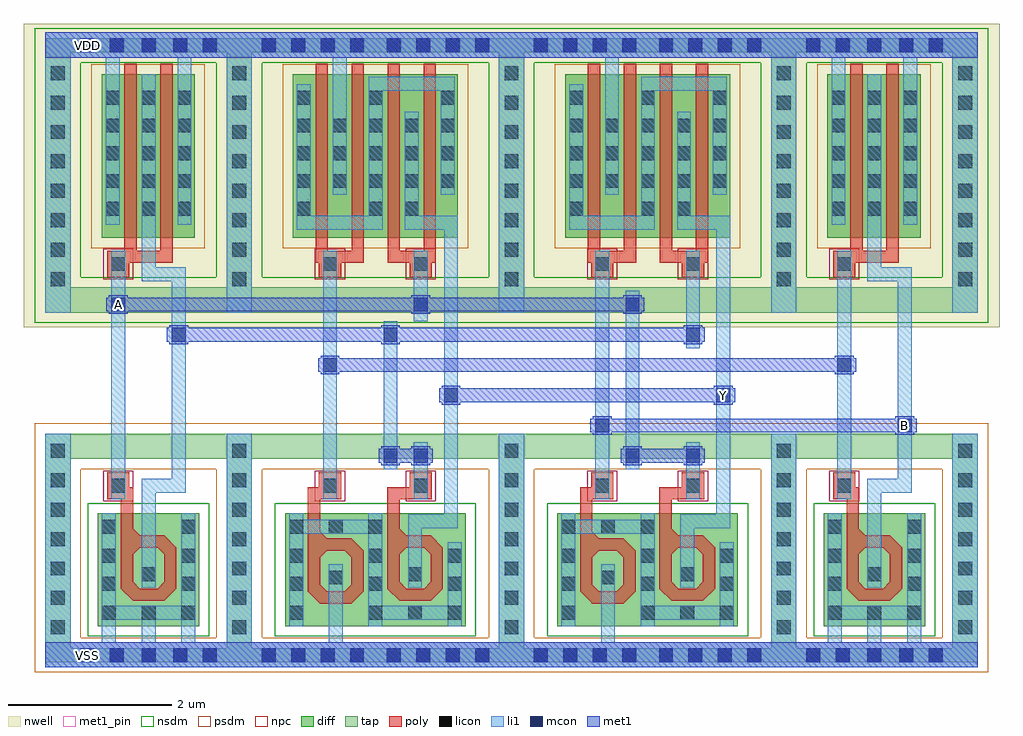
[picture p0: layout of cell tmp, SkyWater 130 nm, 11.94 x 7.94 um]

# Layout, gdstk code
import gdstk
lib = gdstk.Library(unit=1e-6, precision=1e-09)
def R(c, l, rs):  # rectangles x0, y0, x1, y1
    for r in rs: c.add(gdstk.rectangle(r[:2], r[2:], *l))
def A(c, l, x, y, w, h, nx, ny, dx, dy):  # array of equal rectangles
    R(c, l, [(x+i*dx, y+j*dy, x+i*dx+w, y+j*dy+h) for i in range(nx) for j in range(ny)])
def P(c, l, *ps):  # polygons
    for p in ps: c.add(gdstk.Polygon(p, *l))
nwell = (64, 20)
diff = (65, 20)
tap = (65, 44)
poly = (66, 20)
licon = (66, 44)
li1 = (67, 20)
mcon = (67, 44)
met1_pin = (68, 16)
met1 = (68, 20)
nsdm = (93, 44)
psdm = (94, 20)
npc = (95, 20)

tmp = lib.new_cell('tmp')
R(tmp, nwell, [(-0.42,4.16,11.52,7.875)])
R(tmp, diff, [(0.49,0.505,1.73,1.885), (2.78,0.505,4.99,1.885), (6.11,0.505,8.32,1.885), (9.37,0.505,10.61,1.885), (0.535,5.255,1.675,7.255), (2.875,5.255,4.895,7.255), (6.205,5.255,8.225,7.255), (9.415,5.255,10.555,7.255)])
A(tmp, tap, 2.065, 0.235, 0.31, 2.315, 3, 1, 3.33, 0)
A(tmp, tap, 2.065, 4.65, 0.31, 2.875, 3, 1, 3.33, 0)
R(tmp, tap, [(-0.155,0.065,11.255,0.235), (-0.155,0.235,0.155,2.55), (10.945,0.235,11.255,2.55), (-0.155,2.55,11.255,2.86), (-0.155,4.34,11.255,4.65), (-0.155,4.65,0.155,7.525), (10.945,4.65,11.255,7.525), (-0.155,7.525,11.255,7.695)])
A(tmp, poly, 3.155, 5.1, 0.15, 2.285, 4, 1, 0.44, 0)
A(tmp, poly, 6.485, 5.1, 0.15, 2.285, 4, 1, 0.44, 0)
R(tmp, poly, [(3.21,0.78,3.59,0.815), (6.54,0.78,6.92,0.815), (0.92,0.815,1.3,0.965), (3.175,0.815,3.59,0.93), (4.18,0.815,4.56,0.965), (6.505,0.815,6.92,0.93), (7.51,0.815,7.89,0.965), (9.8,0.815,10.18,0.965), (3.06,0.93,3.21,1.43), (3.59,0.93,3.74,1.43), (6.39,0.93,6.54,1.43), (6.92,0.93,7.07,1.43), (0.77,0.965,0.92,1.465), (1.3,0.965,1.45,1.465), (4.03,0.965,4.18,1.465), (4.56,0.965,4.71,1.465), (7.36,0.965,7.51,1.465), (7.89,0.965,8.04,1.465), (9.65,0.965,9.8,1.465), (10.18,0.965,10.33,1.465), (3.06,1.43,3.59,1.58), (6.39,1.43,6.92,1.58), (0.77,1.465,1.3,1.615), (4.03,1.465,4.56,1.615), (7.36,1.465,7.89,1.615), (9.65,1.465,10.18,1.615), (3.06,1.58,3.21,2.055), (6.39,1.58,6.54,2.055), (0.77,1.615,0.92,2.055), (4.03,1.615,4.18,2.055), (7.36,1.615,7.51,2.055), (9.65,1.615,9.8,2.055), (0.605,2.055,0.92,2.205), (3.06,2.055,3.465,2.205), (4.03,2.055,4.575,2.205), (6.39,2.055,6.795,2.205), (7.36,2.055,7.905,2.205), (9.485,2.055,9.8,2.205), (0.605,2.205,0.875,2.385), (3.195,2.205,3.465,2.385), (4.305,2.205,4.575,2.385), (6.525,2.205,6.795,2.385), (7.635,2.205,7.905,2.385), (9.485,2.205,9.755,2.385), (0.605,4.77,0.875,4.95), (3.195,4.77,3.465,4.95), (4.305,4.77,4.575,4.95), (6.525,4.77,6.795,4.95), (7.635,4.77,7.905,4.95), (9.485,4.77,9.755,4.95), (0.605,4.95,1.405,5.1), (3.155,4.95,3.745,5.1), (4.035,4.95,4.625,5.1), (6.485,4.95,7.075,5.1), (7.365,4.95,7.955,5.1), (9.485,4.95,10.285,5.1), (0.815,5.1,0.965,7.385), (1.255,5.1,1.405,7.385), (9.695,5.1,9.845,7.385), (10.135,5.1,10.285,7.385)])
P(tmp, poly, [(0.92,1.695),(0.92,1.615),(1,1.615)],
  [(1.3,1.615),(1.3,1.465),(1.45,1.465)],
  [(0.92,1.385),(0.92,1.465),(1,1.465)],
  [(1.22,1.465),(1.3,1.465),(1.3,1.385)],
  [(0.92,1.045),(0.92,0.965),(1,0.965)],
  [(1.22,0.965),(1.3,0.965),(1.3,1.045)],
  [(0.77,0.965),(0.92,0.965),(0.92,0.815)],
  [(1.3,0.815),(1.3,0.965),(1.45,0.965)],
  [(3.21,1.66),(3.21,1.58),(3.29,1.58)],
  [(4.18,1.695),(4.18,1.615),(4.26,1.615)],
  [(3.59,1.58),(3.59,1.43),(3.74,1.43)],
  [(3.21,1.35),(3.21,1.43),(3.29,1.43)],
  [(3.51,1.43),(3.59,1.43),(3.59,1.35)],
  [(3.21,1.01),(3.21,0.93),(3.29,0.93)],
  [(3.51,0.93),(3.59,0.93),(3.59,1.01)],
  [(3.06,0.93),(3.175,0.93),(3.175,0.815)],
  [(3.175,0.815),(3.21,0.815),(3.21,0.78)],
  [(3.59,0.78),(3.59,0.93),(3.74,0.93)],
  [(4.56,1.615),(4.56,1.465),(4.71,1.465)],
  [(4.18,1.385),(4.18,1.465),(4.26,1.465)],
  [(4.48,1.465),(4.56,1.465),(4.56,1.385)],
  [(4.18,1.045),(4.18,0.965),(4.26,0.965)],
  [(4.48,0.965),(4.56,0.965),(4.56,1.045)],
  [(4.03,0.965),(4.18,0.965),(4.18,0.815)],
  [(4.56,0.815),(4.56,0.965),(4.71,0.965)],
  [(6.54,1.66),(6.54,1.58),(6.62,1.58)],
  [(7.51,1.695),(7.51,1.615),(7.59,1.615)],
  [(9.8,1.695),(9.8,1.615),(9.88,1.615)],
  [(6.92,1.58),(6.92,1.43),(7.07,1.43)],
  [(6.54,1.35),(6.54,1.43),(6.62,1.43)],
  [(6.84,1.43),(6.92,1.43),(6.92,1.35)],
  [(6.54,1.01),(6.54,0.93),(6.62,0.93)],
  [(6.84,0.93),(6.92,0.93),(6.92,1.01)],
  [(6.39,0.93),(6.505,0.93),(6.505,0.815)],
  [(6.505,0.815),(6.54,0.815),(6.54,0.78)],
  [(6.92,0.78),(6.92,0.93),(7.07,0.93)],
  [(7.89,1.615),(7.89,1.465),(8.04,1.465)],
  [(7.51,1.385),(7.51,1.465),(7.59,1.465)],
  [(7.81,1.465),(7.89,1.465),(7.89,1.385)],
  [(7.51,1.045),(7.51,0.965),(7.59,0.965)],
  [(7.81,0.965),(7.89,0.965),(7.89,1.045)],
  [(7.36,0.965),(7.51,0.965),(7.51,0.815)],
  [(7.89,0.815),(7.89,0.965),(8.04,0.965)],
  [(10.18,1.615),(10.18,1.465),(10.33,1.465)],
  [(9.8,1.385),(9.8,1.465),(9.88,1.465)],
  [(10.1,1.465),(10.18,1.465),(10.18,1.385)],
  [(9.8,1.045),(9.8,0.965),(9.88,0.965)],
  [(10.1,0.965),(10.18,0.965),(10.18,1.045)],
  [(9.65,0.965),(9.8,0.965),(9.8,0.815)],
  [(10.18,0.815),(10.18,0.965),(10.33,0.965)])
A(tmp, licon, 0.635, 0.065, 0.17, 0.17, 3, 2, 0.39, 7.46)
A(tmp, licon, 2.495, 0.065, 0.17, 0.17, 4, 2, 0.36, 7.46)
A(tmp, licon, 4.025, 0.065, 0.17, 0.17, 4, 2, 0.36, 7.46)
A(tmp, licon, 5.825, 0.065, 0.17, 0.17, 4, 2, 0.36, 7.46)
A(tmp, licon, 7.355, 0.065, 0.17, 0.17, 4, 2, 0.36, 7.46)
A(tmp, licon, 9.515, 0.065, 0.17, 0.17, 3, 2, 0.39, 7.46)
A(tmp, licon, -0.085, 0.405, 0.17, 0.17, 1, 7, 0, 0.36)
A(tmp, licon, 2.135, 0.405, 0.17, 0.17, 3, 7, 3.33, 0.36)
A(tmp, licon, 11.015, 0.405, 0.17, 0.17, 1, 7, 0, 0.36)
A(tmp, licon, 0.54, 0.585, 0.17, 0.17, 3, 1, 0.485, 0)
A(tmp, licon, 3.8, 0.585, 0.17, 0.17, 3, 1, 0.485, 0)
A(tmp, licon, 7.13, 0.585, 0.17, 0.17, 3, 1, 0.485, 0)
A(tmp, licon, 9.42, 0.585, 0.17, 0.17, 3, 1, 0.485, 0)
A(tmp, licon, 2.83, 0.94, 0.17, 0.17, 3, 2, 0.97, 0.34)
A(tmp, licon, 6.16, 0.94, 0.17, 0.17, 3, 2, 0.97, 0.34)
A(tmp, licon, 2.83, 1.635, 0.17, 0.17, 3, 1, 0.485, 0)
A(tmp, licon, 6.16, 1.635, 0.17, 0.17, 3, 1, 0.485, 0)
A(tmp, licon, -0.085, 4.665, 0.17, 0.17, 1, 8, 0, 0.36)
A(tmp, licon, 2.135, 4.665, 0.17, 0.17, 3, 8, 3.33, 0.36)
A(tmp, licon, 11.015, 4.665, 0.17, 0.17, 1, 8, 0, 0.36)
A(tmp, licon, 0.585, 5.525, 0.17, 0.17, 3, 5, 0.44, 0.34)
A(tmp, licon, 9.465, 5.525, 0.17, 0.17, 3, 5, 0.44, 0.34)
A(tmp, licon, 2.925, 5.865, 0.17, 0.17, 5, 3, 0.44, 0.34)
A(tmp, licon, 6.255, 5.865, 0.17, 0.17, 5, 3, 0.44, 0.34)
A(tmp, licon, 2.925, 6.885, 0.17, 0.17, 3, 1, 0.88, 0)
A(tmp, licon, 6.255, 6.885, 0.17, 0.17, 3, 1, 0.88, 0)
R(tmp, licon, [(0.275,0.065,0.445,0.235), (1.775,0.065,1.945,0.235), (9.155,0.065,9.325,0.235), (10.655,0.065,10.825,0.235), (2.83,0.585,3,0.755), (6.16,0.585,6.33,0.755), (0.54,0.94,0.71,1.11), (1.51,0.94,1.68,1.11), (9.42,0.94,9.59,1.11), (10.39,0.94,10.56,1.11), (3.315,1.015,3.485,1.185), (6.645,1.015,6.815,1.185), (1.025,1.055,1.195,1.225), (4.285,1.055,4.455,1.225), (7.615,1.055,7.785,1.225), (9.905,1.055,10.075,1.225), (0.54,1.28,0.71,1.45), (1.51,1.28,1.68,1.45), (9.42,1.28,9.59,1.45), (10.39,1.28,10.56,1.45), (0.54,1.635,0.71,1.805), (1.51,1.635,1.68,1.805), (9.42,1.635,9.59,1.805), (10.39,1.635,10.56,1.805), (0.655,2.135,0.825,2.305), (3.245,2.135,3.415,2.305), (4.355,2.135,4.525,2.305), (6.575,2.135,6.745,2.305), (7.685,2.135,7.855,2.305), (9.535,2.135,9.705,2.305), (0.655,4.85,0.825,5.02), (3.245,4.85,3.415,5.02), (4.355,4.85,4.525,5.02), (6.575,4.85,6.745,5.02), (7.685,4.85,7.855,5.02), (9.535,4.85,9.705,5.02), (2.925,5.525,3.095,5.695), (3.805,5.525,3.975,5.695), (4.245,5.525,4.415,5.695), (6.255,5.525,6.425,5.695), (7.135,5.525,7.305,5.695), (7.575,5.525,7.745,5.695), (0.275,7.525,0.445,7.695), (1.775,7.525,1.945,7.695), (9.155,7.525,9.325,7.695), (10.655,7.525,10.825,7.695)])
A(tmp, li1, 0.54, 0.31, 0.17, 0.275, 3, 1, 0.485, 0)
A(tmp, li1, 2.065, 0.31, 0.31, 2.55, 3, 1, 3.33, 0)
A(tmp, li1, 9.42, 0.31, 0.17, 0.275, 3, 1, 0.485, 0)
A(tmp, li1, 2.065, 4.34, 0.31, 3.12, 3, 1, 3.33, 0)
R(tmp, li1, [(-0.155,0,11.255,0.31), (-0.155,0.31,0.155,2.86), (3.315,0.31,3.485,1.265), (6.645,0.31,6.815,1.265), (10.945,0.31,11.255,2.86), (2.83,0.505,3,1.635), (3.8,0.505,3.97,0.585), (4.77,0.505,4.94,0.585), (6.16,0.505,6.33,1.635), (7.13,0.505,7.3,0.585), (8.1,0.505,8.27,0.585), (0.54,0.585,1.68,0.755), (3.8,0.585,4.94,0.755), (7.13,0.585,8.27,0.755), (9.42,0.585,10.56,0.755), (0.54,0.755,0.71,1.885), (1.51,0.755,1.68,1.885), (3.8,0.755,3.97,1.635), (4.77,0.755,4.94,1.53), (7.13,0.755,7.3,1.635), (8.1,0.755,8.27,1.53), (9.42,0.755,9.59,1.885), (10.39,0.755,10.56,1.885), (1.025,0.975,1.195,2.135), (4.285,0.975,4.455,1.705), (7.615,0.975,7.785,1.705), (9.905,0.975,10.075,2.135), (2.83,1.635,3.97,1.805), (6.16,1.635,7.3,1.805), (4.285,1.705,4.895,1.875), (7.615,1.705,8.225,1.875), (2.83,1.805,3,1.885), (3.8,1.805,3.97,1.885), (6.16,1.805,6.33,1.885), (7.13,1.805,7.3,1.885), (4.725,1.875,4.895,5.355), (8.055,1.875,8.225,5.355), (0.655,2.055,0.825,5.1), (3.245,2.055,3.415,5.1), (4.355,2.055,4.525,2.755), (6.575,2.055,6.745,5.1), (7.685,2.055,7.855,2.755), (9.535,2.055,9.705,5.1), (1.025,2.135,1.565,2.305), (9.905,2.135,10.445,2.305), (1.395,2.305,1.565,4.725), (10.275,2.305,10.445,4.725), (3.985,2.425,4.155,4.235), (6.945,2.425,7.115,4.605), (7.685,3.905,7.855,5.1), (4.355,4.235,4.525,5.1), (-0.155,4.34,0.155,7.46), (10.945,4.34,11.255,7.46), (1.025,4.725,1.565,4.895), (9.905,4.725,10.445,4.895), (1.025,4.895,1.195,7.255), (9.905,4.895,10.075,7.255), (2.925,5.355,3.975,5.525), (4.245,5.355,4.895,5.525), (6.255,5.355,7.305,5.525), (7.575,5.355,8.225,5.525), (0.585,5.415,0.755,7.46), (1.465,5.415,1.635,7.46), (9.465,5.415,9.635,7.46), (10.345,5.415,10.515,7.46), (2.925,5.525,3.095,7.135), (3.805,5.525,3.975,7.055), (4.245,5.525,4.415,6.795), (6.255,5.525,6.425,7.135), (7.135,5.525,7.305,7.055), (7.575,5.525,7.745,6.795), (3.365,5.785,3.535,7.46), (4.685,5.785,4.855,7.055), (6.695,5.785,6.865,7.46), (8.015,5.785,8.185,7.055), (3.805,7.055,4.855,7.225), (7.135,7.055,8.185,7.225), (-0.155,7.46,11.255,7.77)])
A(tmp, mcon, 0.635, 0.065, 0.17, 0.17, 3, 2, 0.39, 7.46)
A(tmp, mcon, 2.495, 0.065, 0.17, 0.17, 4, 2, 0.36, 7.46)
A(tmp, mcon, 4.025, 0.065, 0.17, 0.17, 4, 2, 0.36, 7.46)
A(tmp, mcon, 5.825, 0.065, 0.17, 0.17, 4, 2, 0.36, 7.46)
A(tmp, mcon, 7.355, 0.065, 0.17, 0.17, 4, 2, 0.36, 7.46)
A(tmp, mcon, 9.515, 0.065, 0.17, 0.17, 3, 2, 0.39, 7.46)
R(tmp, mcon, [(0.275,0.065,0.445,0.235), (1.775,0.065,1.945,0.235), (9.155,0.065,9.325,0.235), (10.655,0.065,10.825,0.235), (3.985,2.505,4.155,2.675), (4.355,2.505,4.525,2.675), (6.945,2.505,7.115,2.675), (7.685,2.505,7.855,2.675), (6.575,2.875,6.745,3.045), (10.275,2.875,10.445,3.045), (4.725,3.245,4.895,3.415), (8.055,3.245,8.225,3.415), (3.245,3.615,3.415,3.785), (9.535,3.615,9.705,3.785), (1.395,3.985,1.565,4.155), (3.985,3.985,4.155,4.155), (7.685,3.985,7.855,4.155), (0.655,4.355,0.825,4.525), (4.355,4.355,4.525,4.525), (6.945,4.355,7.115,4.525), (0.275,7.525,0.445,7.695), (1.775,7.525,1.945,7.695), (9.155,7.525,9.325,7.695), (10.655,7.525,10.825,7.695)])
R(tmp, met1_pin, [(0.275,0.065,0.445,0.235), (10.275,2.875,10.445,3.045), (8.055,3.245,8.225,3.415), (0.655,4.355,0.825,4.525), (0.275,7.525,0.445,7.695)])
R(tmp, met1, [(-0.155,0,11.255,0.31), (3.955,2.475,4.185,2.505), (4.325,2.475,4.555,2.505), (6.915,2.475,7.145,2.505), (7.655,2.475,7.885,2.505), (3.925,2.505,4.585,2.675), (6.885,2.505,7.915,2.675), (3.955,2.675,4.185,2.705), (4.325,2.675,4.555,2.705), (6.915,2.675,7.145,2.705), (7.655,2.675,7.885,2.705), (6.545,2.845,6.775,2.875), (10.245,2.845,10.475,2.875), (6.515,2.875,10.505,3.045), (6.545,3.045,6.775,3.075), (10.245,3.045,10.475,3.075), (4.695,3.215,4.925,3.245), (8.025,3.215,8.255,3.245), (4.665,3.245,8.285,3.415), (4.695,3.415,4.925,3.445), (8.025,3.415,8.255,3.445), (3.215,3.585,3.445,3.615), (9.505,3.585,9.735,3.615), (3.185,3.615,9.765,3.785), (3.215,3.785,3.445,3.815), (9.505,3.785,9.735,3.815), (1.365,3.955,1.595,3.985), (3.955,3.955,4.185,3.985), (7.655,3.955,7.885,3.985), (1.335,3.985,7.915,4.155), (1.365,4.155,1.595,4.185), (3.955,4.155,4.185,4.185), (7.655,4.155,7.885,4.185), (0.625,4.325,0.855,4.355), (4.325,4.325,4.555,4.355), (6.915,4.325,7.145,4.355), (0.595,4.355,7.175,4.525), (0.625,4.525,0.855,4.555), (4.325,4.525,4.555,4.555), (6.915,4.525,7.145,4.555), (-0.155,7.46,11.255,7.77)])
A(tmp, nsdm, 1.94, 4.775, 0.56, 2.625, 3, 1, 3.33, 0)
R(tmp, nsdm, [(0.365,0.38,1.855,2.01), (2.655,0.38,5.115,2.01), (5.985,0.38,8.445,2.01), (9.245,0.38,10.735,2.01), (-0.28,4.215,11.38,4.775), (-0.28,4.775,0.28,7.4), (10.82,4.775,11.38,7.4), (-0.28,7.4,11.38,7.82)])
A(tmp, psdm, 1.94, 0.36, 0.56, 2.065, 3, 1, 3.33, 0)
R(tmp, psdm, [(-0.28,-0.06,11.38,0.36), (-0.28,0.36,0.28,2.425), (10.82,0.36,11.38,2.425), (-0.28,2.425,11.38,2.985), (0.41,5.13,1.8,7.38), (2.75,5.13,5.02,7.38), (6.08,5.13,8.35,7.38), (9.29,5.13,10.68,7.38)])
R(tmp, npc, [(0.555,2.035,0.925,2.405), (3.145,2.035,3.515,2.405), (4.255,2.035,4.625,2.405), (6.475,2.035,6.845,2.405), (7.585,2.035,7.955,2.405), (9.435,2.035,9.805,2.405), (0.555,4.75,0.925,5.12), (3.145,4.75,3.515,5.12), (4.255,4.75,4.625,5.12), (6.475,4.75,6.845,5.12), (7.585,4.75,7.955,5.12), (9.435,4.75,9.805,5.12)])
tmp.add(gdstk.Label('VDD', (0.36,7.61), layer=68, texttype=16))
tmp.add(gdstk.Label('VSS', (0.36,0.15), layer=68, texttype=16))
tmp.add(gdstk.Label('VDD', (0.36,7.61), layer=68, texttype=16))
tmp.add(gdstk.Label('VSS', (0.36,0.15), layer=68, texttype=16))
tmp.add(gdstk.Label('B', (10.36,2.96), layer=68, texttype=16))
tmp.add(gdstk.Label('Y', (8.14,3.33), layer=68, texttype=16))
tmp.add(gdstk.Label('A', (0.74,4.44), layer=68, texttype=16))

lib.write_gds('tmp.gds')
